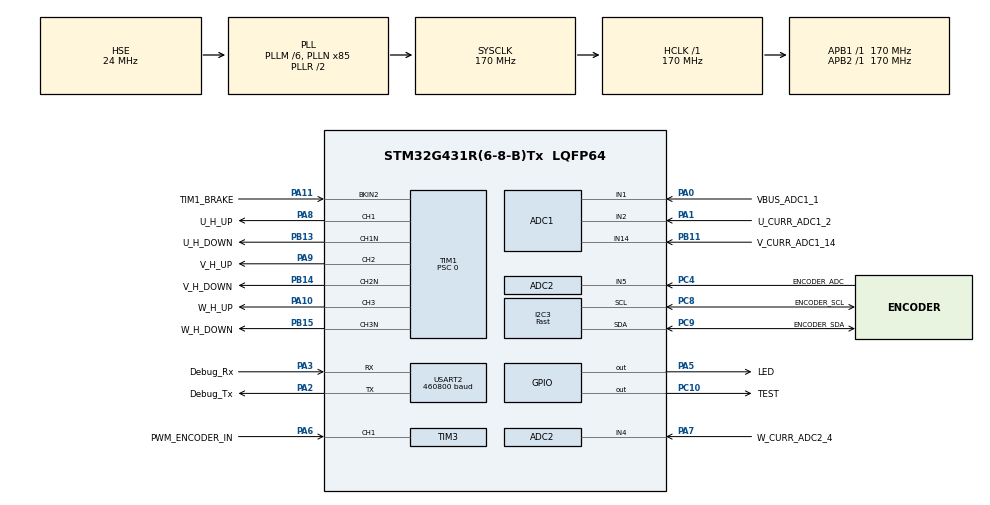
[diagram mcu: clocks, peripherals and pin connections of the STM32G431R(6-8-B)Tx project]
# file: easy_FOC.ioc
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ADC1.Channel-0\#ChannelRegularConversion=ADC_CHANNEL_2
ADC1.Channel-1\#ChannelRegularConversion=ADC_CHANNEL_14
ADC1.Channel-4\#ChannelRegularConversion=ADC_CHANNEL_1
ADC1.DataAlign=ADC_DATAALIGN_RIGHT
ADC1.EOCSelection=ADC_EOC_SINGLE_CONV
ADC1.EnableInjectedConversion=ENABLE
ADC1.ExternalTrigConv=ADC_EXTERNALTRIG_T1_TRGO
ADC1.ExternalTrigInjecConv=ADC_EXTERNALTRIGINJEC_T1_CC4
ADC1.InjNumberOfConversion=3
ADC1.InjectedChannel-2\#ChannelInjectedConversion=ADC_CHANNEL_2
ADC1.InjectedChannel-3\#ChannelInjectedConversion=ADC_CHANNEL_14
ADC1.InjectedChannel-5\#ChannelInjectedConversion=ADC_CHANNEL_1
ADC1.InjectedOffsetNumber-2\#ChannelInjectedConversion=ADC_OFFSET_NONE
ADC1.InjectedOffsetNumber-3\#ChannelInjectedConversion=ADC_OFFSET_NONE
ADC1.InjectedOffsetNumber-5\#ChannelInjectedConversion=ADC_OFFSET_NONE
ADC1.InjectedRank-2\#ChannelInjectedConversion=1
ADC1.InjectedRank-3\#ChannelInjectedConversion=2
ADC1.InjectedRank-5\#ChannelInjectedConversion=3
ADC1.InjectedSamplingTime-2\#ChannelInjectedConversion=ADC_SAMPLETIME_6CYCLES_5
ADC1.InjectedSamplingTime-3\#ChannelInjectedConversion=ADC_SAMPLETIME_6CYCLES_5
ADC1.InjectedSamplingTime-5\#ChannelInjectedConversion=ADC_SAMPLETIME_6CYCLES_5
ADC1.NbrOfConversion=3
ADC1.NbrOfConversionFlag=1
ADC1.OffsetNumber-0\#ChannelRegularConversion=ADC_OFFSET_NONE
ADC1.OffsetNumber-1\#ChannelRegularConversion=ADC_OFFSET_NONE
ADC1.OffsetNumber-4\#ChannelRegularConversion=ADC_OFFSET_NONE
ADC1.Rank-0\#ChannelRegularConversion=1
ADC1.Rank-1\#ChannelRegularConversion=2
ADC1.Rank-4\#ChannelRegularConversion=3
ADC1.Rank3_Channel=ADC_CHANNEL_1
ADC1.SamplingTime-0\#ChannelRegularConversion=ADC_SAMPLETIME_47CYCLES_5
ADC1.SamplingTime-1\#ChannelRegularConversion=ADC_SAMPLETIME_47CYCLES_5
ADC1.SamplingTime-4\#ChannelRegularConversion=ADC_SAMPLETIME_47CYCLES_5
ADC1.master=1
ADC2.Channel-0\#ChannelRegularConversion=ADC_CHANNEL_4
ADC2.DataAlign=ADC_DATAALIGN_RIGHT
ADC2.EnableInjectedConversion=ENABLE
ADC2.ExternalTrigConv=ADC_EXTERNALTRIG_T1_TRGO
ADC2.ExternalTrigInjecConv=ADC_EXTERNALTRIGINJEC_T1_CC4
ADC2.InjNumberOfConversion=2
ADC2.InjectedChannel-1\#ChannelInjectedConversion=ADC_CHANNEL_4
ADC2.InjectedChannel-2\#ChannelInjectedConversion=ADC_CHANNEL_5
ADC2.InjectedOffsetNumber-1\#ChannelInjectedConversion=ADC_OFFSET_NONE
ADC2.InjectedOffsetNumber-2\#ChannelInjectedConversion=ADC_OFFSET_NONE
ADC2.InjectedRank-1\#ChannelInjectedConversion=1
ADC2.InjectedRank-2\#ChannelInjectedConversion=2
ADC2.InjectedSamplingTime-1\#ChannelInjectedConversion=ADC_SAMPLETIME_6CYCLES_5
ADC2.InjectedSamplingTime-2\#ChannelInjectedConversion=ADC_SAMPLETIME_6CYCLES_5
ADC2.NbrOfConversionFlag=1
ADC2.OffsetNumber-0\#ChannelRegularConversion=ADC_OFFSET_NONE
ADC2.Rank-0\#ChannelRegularConversion=1
ADC2.Rank2_Channel=ADC_CHANNEL_5
ADC2.SamplingTime-0\#ChannelRegularConversion=ADC_SAMPLETIME_47CYCLES_5
I2C3.I2C_Speed_Mode=I2C_Fast
I2C3.Timing=0x10802D9B
Mcu.Family=STM32G4
Mcu.Name=STM32G431R(6-8-B)Tx
Mcu.Package=LQFP64
Mcu.UserConstants=PWM_FREQUENCY,30000;TIM_CLK_MHz,170
NVIC.ADC1_2_IRQn=true\:1\:0\:true\:false\:true\:true\:true\:true
NVIC.PriorityGroup=NVIC_PRIORITYGROUP_3
NVIC.TIM1_BRK_TIM15_IRQn=true\:0\:0\:false\:false\:true\:true\:true\:true
NVIC.TIM1_UP_TIM16_IRQn=true\:1\:0\:true\:false\:true\:true\:true\:true
NVIC.TIM2_IRQn=true\:1\:1\:true\:false\:true\:true\:true\:true
NVIC.TIM3_IRQn=true\:2\:0\:true\:false\:true\:true\:true\:true
NVIC.USART2_IRQn=true\:3\:0\:true\:false\:true\:true\:true\:true
PA0.GPIO_Label=VBUS_ADC1_1
PA0.Mode=IN1-Single-Ended
PA0.Signal=ADC1_IN1
PA1.GPIO_Label=U_CURR_ADC1_2
PA1.Mode=IN2-Single-Ended
PA1.Signal=ADC1_IN2
PA10.GPIO_Label=W_H_UP
PA10.GPIO_PuPd=GPIO_PULLDOWN
PA10.Signal=S_TIM1_CH3
PA11.GPIO_Label=TIM1_BRAKE
PA11.GPIO_PuPd=GPIO_PULLUP
PA11.Mode=Activate-Break-Input-2
PA11.Signal=TIM1_BKIN2
PA13.Mode=Serial_Wire
PA13.Signal=SYS_JTMS-SWDIO
PA14.Mode=Serial_Wire
PA14.Signal=SYS_JTCK-SWCLK
PA2.GPIO_Label=Debug_Tx
PA2.Mode=Asynchronous
PA2.Signal=USART2_TX
PA3.GPIO_Label=Debug_Rx
PA3.Mode=Asynchronous
PA3.Signal=USART2_RX
PA5.GPIO_Label=LED
PA5.GPIO_PuPd=GPIO_PULLUP
PA5.GPIO_Speed=GPIO_SPEED_FREQ_HIGH
PA5.PinState=GPIO_PIN_SET
PA5.Signal=GPIO_Output
PA6.GPIO_Label=PWM_ENCODER_IN
PA6.Signal=S_TIM3_CH1
PA7.GPIO_Label=W_CURR_ADC2_4
PA7.Mode=IN4-Single-Ended
PA7.Signal=ADC2_IN4
PA8.GPIO_Label=U_H_UP
PA8.GPIO_PuPd=GPIO_PULLDOWN
PA8.Signal=S_TIM1_CH1
PA9.GPIO_Label=V_H_UP
PA9.GPIO_PuPd=GPIO_PULLDOWN
PA9.Signal=S_TIM1_CH2
PB11.GPIO_Label=V_CURR_ADC1_14
PB11.Mode=IN14-Single-Ended
PB11.Signal=ADC1_IN14
PB13.GPIO_Label=U_H_DOWN
PB13.GPIO_PuPd=GPIO_PULLDOWN
PB13.Mode=PWM Generation1 CH1 CH1N
PB13.Signal=TIM1_CH1N
PB14.GPIO_Label=V_H_DOWN
PB14.GPIO_PuPd=GPIO_PULLDOWN
PB14.Mode=PWM Generation2 CH2 CH2N
PB14.Signal=TIM1_CH2N
PB15.GPIO_Label=W_H_DOWN
PB15.GPIO_PuPd=GPIO_PULLDOWN
PB15.Mode=PWM Generation3 CH3 CH3N
PB15.Signal=TIM1_CH3N
PC10.GPIO_Label=TEST
PC10.GPIO_PuPd=GPIO_PULLUP
PC10.GPIO_Speed=GPIO_SPEED_FREQ_HIGH
PC10.Signal=GPIO_Output
PC4.GPIO_Label=ENCODER_ADC
PC4.Mode=IN5-Single-Ended
PC4.Signal=ADC2_IN5
PC8.GPIO_Label=ENCODER_SCL
PC8.GPIO_Pu=GPIO_PULLUP
PC8.Mode=I2C
PC8.Signal=I2C3_SCL
PC9.GPIO_Label=ENCODER_SDA
PC9.GPIO_Pu=GPIO_PULLUP
PC9.Mode=I2C
PC9.Signal=I2C3_SDA
PF0-OSC_IN.Mode=HSE-External-Oscillator
PF0-OSC_IN.Signal=RCC_OSC_IN
PF1-OSC_OUT.Mode=HSE-External-Oscillator
PF1-OSC_OUT.Signal=RCC_OSC_OUT
ProjectManager.HeapSize=0x200
ProjectManager.StackSize=0x400
ProjectManager.TargetToolchain=STM32CubeIDE
RCC.ADC12Freq_Value=170000000
RCC.AHBFreq_Value=170000000
RCC.APB1Freq_Value=170000000
RCC.APB1TimFreq_Value=170000000
RCC.APB2Freq_Value=170000000
RCC.APB2TimFreq_Value=170000000
RCC.CortexFreq_Value=170000000
RCC.EXTERNAL_CLOCK_VALUE=12288000
RCC.HCLKFreq_Value=170000000
RCC.HSE_VALUE=24000000
RCC.HSI48_VALUE=48000000
RCC.HSI_VALUE=16000000
RCC.LSE_VALUE=32768
RCC.PLLM=RCC_PLLM_DIV6
RCC.PLLN=85
RCC.PLLSourceVirtual=RCC_PLLSOURCE_HSE
RCC.SYSCLKFreq_VALUE=170000000
RCC.SYSCLKSource=RCC_SYSCLKSOURCE_PLLCLK
RCC.USBFreq_Value=170000000
RCC.VCOOutputFreq_Value=340000000
SH.S_TIM1_CH1.0=TIM1_CH1,PWM Generation1 CH1 CH1N
SH.S_TIM1_CH2.0=TIM1_CH2,PWM Generation2 CH2 CH2N
SH.S_TIM1_CH3.0=TIM1_CH3,PWM Generation3 CH3 CH3N
SH.S_TIM3_CH1.0=TIM3_CH1,TriggerSource_TI1FP1
SH.S_TIM3_CH1.1=TIM3_CH1,Input_Capture1_from_TI1
SH.S_TIM3_CH1.2=TIM3_CH1,Input_Capture2_from_TI1
TIM1.AsymmetricalDeadTime=DISABLE
TIM1.AutoReloadPreload=TIM_AUTORELOAD_PRELOAD_ENABLE
TIM1.AutomaticOutput=TIM_AUTOMATICOUTPUT_ENABLE
TIM1.Break2Filter=3
TIM1.Break2Polarity=TIM_BREAK2POLARITY_LOW
TIM1.Break2State=TIM_BREAK2_DISABLE
TIM1.BreakPolarity=TIM_BREAKPOLARITY_LOW
TIM1.BreakState=TIM_BREAK_DISABLE
TIM1.Channel-PWM\ Generation1\ CH1\ CH1N=TIM_CHANNEL_1
TIM1.Channel-PWM\ Generation2\ CH2\ CH2N=TIM_CHANNEL_2
TIM1.Channel-PWM\ Generation3\ CH3\ CH3N=TIM_CHANNEL_3
TIM1.Channel-PWM\ Generation4\ No\ Output=TIM_CHANNEL_4
TIM1.CounterMode=TIM_COUNTERMODE_CENTERALIGNED1
TIM1.DeadTime=5
TIM1.DeadTimePreload=ENABLE
TIM1.LockLevel=TIM_LOCKLEVEL_1
TIM1.OCMode_PWM-PWM\ Generation1\ CH1\ CH1N=TIM_OCMODE_PWM1
TIM1.OCMode_PWM-PWM\ Generation2\ CH2\ CH2N=TIM_OCMODE_PWM1
TIM1.OCMode_PWM-PWM\ Generation3\ CH3\ CH3N=TIM_OCMODE_PWM1
TIM1.OCMode_PWM-PWM\ Generation4\ No\ Output=TIM_OCMODE_PWM1
TIM1.OCNIdleState_1=TIM_OCNIDLESTATE_SET
TIM1.OCNIdleState_2=TIM_OCNIDLESTATE_SET
TIM1.OCNIdleState_3=TIM_OCNIDLESTATE_SET
TIM1.OCNPolarity_1=TIM_OCNPOLARITY_HIGH
TIM1.OCNPolarity_2=TIM_OCNPOLARITY_HIGH
TIM1.OCNPolarity_3=TIM_OCNPOLARITY_HIGH
TIM1.OCPolarity_1=TIM_OCPOLARITY_HIGH
TIM1.OCPolarity_2=TIM_OCPOLARITY_HIGH
TIM1.OCPolarity_3=TIM_OCPOLARITY_HIGH
TIM1.PeriodNoDither=TIM_CLK_MHz*1000000/PWM_FREQUENCY/2
TIM1.Prescaler=0
TIM1.PulseNoDither_1=0
TIM1.PulseNoDither_2=0
TIM1.PulseNoDither_3=0
TIM1.TIM_MasterOutputTrigger=TIM_TRGO_OC4REF
TIM2.AutoReloadPreload=TIM_AUTORELOAD_PRELOAD_ENABLE
TIM2.PeriodNoDither=499
TIM2.Prescaler=170-1
TIM3.Channel-Input_Capture1_from_TI1=TIM_CHANNEL_1
TIM3.Channel-Input_Capture2_from_TI1=TIM_CHANNEL_2
TIM3.ICPolarity_CH1=TIM_INPUTCHANNELPOLARITY_RISING
TIM3.ICPolarity_CH2=TIM_INPUTCHANNELPOLARITY_FALLING
TIM3.PeriodNoDither=65535
TIM3.Prescaler=17-1
USART2.BaudRate=460800
USART2.VirtualMode-Asynchronous=VM_ASYNC
VP_SYS_VS_DBSignals.Mode=DisableDeadBatterySignals
VP_TIM1_VS_ClockSourceINT.Mode=Internal
VP_TIM1_VS_no_output4.Mode=PWM Generation4 No Output
VP_TIM2_VS_ClockSourceINT.Mode=Internal
VP_TIM3_VS_ClockSourceINT.Mode=Internal
VP_TIM3_VS_ControllerModeReset.Mode=Reset Mode
board=custom

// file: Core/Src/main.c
/* USER CODE BEGIN Header */
/**
 ******************************************************************************
 * @file           : main.c
 * @brief          : Main program body
 ******************************************************************************
 * @attention
 *
 * <h2><center>&copy; Copyright (c) 2023 STMicroelectronics.
 * All rights reserved.</center></h2>
 *
 * This software component is licensed by ST under BSD 3-Clause license,
 * the "License"; You may not use this file except in compliance with the
 * License. You may obtain a copy of the License at:
 *                        opensource.org/licenses/BSD-3-Clause
 *
 ******************************************************************************
 */
/* USER CODE END Header */
#include "main.h"

/* USER CODE BEGIN Includes */
#include "test.h"
#include "foc.h"
#include "debug.h"
#include "stdio.h"
#include "PWM_Encoder.h"
#include "motor_function.h"
#include "current_sample.h"
#include "pid_control.h"
#include "IIC_encoder.h"
#include "ADC_encoder.h"
/* USER CODE END Includes */

ADC_HandleTypeDef hadc1;
ADC_HandleTypeDef hadc2;

I2C_HandleTypeDef hi2c3;

TIM_HandleTypeDef htim1;
TIM_HandleTypeDef htim2;
TIM_HandleTypeDef htim3;

UART_HandleTypeDef huart2;

/* USER CODE BEGIN PV */
uint32_t test;
/* USER CODE END PV */

void SystemClock_Config(void);
static void MX_GPIO_Init(void);
static void MX_TIM1_Init(void);
static void MX_ADC1_Init(void);
static void MX_ADC2_Init(void);
static void MX_USART2_UART_Init(void);
static void MX_TIM3_Init(void);
static void MX_TIM2_Init(void);
static void MX_I2C3_Init(void);

int main(void)
{

  /* MCU Configuration--------------------------------------------------------*/

  /* Reset of all peripherals, Initializes the Flash interface and the Systick. */
  HAL_Init();

  /* Configure the system clock */
  SystemClock_Config();

  /* Initialize all configured peripherals */
  MX_GPIO_Init();
  MX_TIM1_Init();
  MX_ADC1_Init();
  MX_ADC2_Init();
  MX_USART2_UART_Init();
  MX_TIM3_Init();
  MX_TIM2_Init();
  MX_I2C3_Init();
  /* USER CODE BEGIN 2 */
  uart_debug_init();
  FOC_hardware_init();
//  PWM_encoder_init();
  PID_init();
  HAL_Delay(100);
  GetCurrentOffset();
  HAL_Delay(500);
  Motor_Align(0.5);
  motor_function_init();
  /* USER CODE END 2 */

  /* Infinite loop */
  while (1)
  {

    /* USER CODE BEGIN 3 */
//    vofa_JustFloat_output(FOC.AlphaBeta.alpha,FOC.AlphaBeta.beta,FOC.DQ.d,FOC.DQ.q);
//	    vofa_JustFloat_output(current.Ia,current.Ib,current.Ic,FOC.DQ.d);
//	  	vofa_JustFloat_output(current.Ia,current.Ib,current.Ic,adc_encoder.electronic_angle);
	  	vofa_JustFloat_output(m_c.speed,m_c.speed_filter_win,m_c.speed_set,0.0f);

  }
  /* USER CODE END 3 */
}

void SystemClock_Config(void)
{
  RCC_OscInitTypeDef RCC_OscInitStruct = {0};
  RCC_ClkInitTypeDef RCC_ClkInitStruct = {0};

  /** Configure the main internal regulator output voltage
  */
  HAL_PWREx_ControlVoltageScaling(PWR_REGULATOR_VOLTAGE_SCALE1_BOOST);

  /** Initializes the RCC Oscillators according to the specified parameters
  * in the RCC_OscInitTypeDef structure.
  */
  RCC_OscInitStruct.OscillatorType = RCC_OSCILLATORTYPE_HSE;
  RCC_OscInitStruct.HSEState = RCC_HSE_ON;
  RCC_OscInitStruct.PLL.PLLState = RCC_PLL_ON;
  RCC_OscInitStruct.PLL.PLLSource = RCC_PLLSOURCE_HSE;
  RCC_OscInitStruct.PLL.PLLM = RCC_PLLM_DIV6;
  RCC_OscInitStruct.PLL.PLLN = 85;
  RCC_OscInitStruct.PLL.PLLP = RCC_PLLP_DIV2;
  RCC_OscInitStruct.PLL.PLLQ = RCC_PLLQ_DIV2;
  RCC_OscInitStruct.PLL.PLLR = RCC_PLLR_DIV2;
  if (HAL_RCC_OscConfig(&RCC_OscInitStruct) != HAL_OK)
  {
    Error_Handler();
  }

  /** Initializes the CPU, AHB and APB buses clocks
  */
  RCC_ClkInitStruct.ClockType = RCC_CLOCKTYPE_HCLK|RCC_CLOCKTYPE_SYSCLK
                              |RCC_CLOCKTYPE_PCLK1|RCC_CLOCKTYPE_PCLK2;
  RCC_ClkInitStruct.SYSCLKSource = RCC_SYSCLKSOURCE_PLLCLK;
  RCC_ClkInitStruct.AHBCLKDivider = RCC_SYSCLK_DIV1;
  RCC_ClkInitStruct.APB1CLKDivider = RCC_HCLK_DIV1;
  RCC_ClkInitStruct.APB2CLKDivider = RCC_HCLK_DIV1;

  if (HAL_RCC_ClockConfig(&RCC_ClkInitStruct, FLASH_LATENCY_4) != HAL_OK)
  {
    Error_Handler();
  }
}

static void MX_ADC1_Init(void)
{

  ADC_MultiModeTypeDef multimode = {0};
  ADC_ChannelConfTypeDef sConfig = {0};
  ADC_InjectionConfTypeDef sConfigInjected = {0};

  /** Common config
  */
  hadc1.Instance = ADC1;
  hadc1.Init.ClockPrescaler = ADC_CLOCK_SYNC_PCLK_DIV4;
  hadc1.Init.Resolution = ADC_RESOLUTION_12B;
  hadc1.Init.DataAlign = ADC_DATAALIGN_RIGHT;
  hadc1.Init.GainCompensation = 0;
  hadc1.Init.ScanConvMode = ADC_SCAN_ENABLE;
  hadc1.Init.EOCSelection = ADC_EOC_SINGLE_CONV;
  hadc1.Init.LowPowerAutoWait = DISABLE;
  hadc1.Init.ContinuousConvMode = DISABLE;
  hadc1.Init.NbrOfConversion = 3;
  hadc1.Init.DiscontinuousConvMode = DISABLE;
  hadc1.Init.ExternalTrigConv = ADC_EXTERNALTRIG_T1_TRGO;
  hadc1.Init.ExternalTrigConvEdge = ADC_EXTERNALTRIGCONVEDGE_RISING;
  hadc1.Init.DMAContinuousRequests = DISABLE;
  hadc1.Init.Overrun = ADC_OVR_DATA_PRESERVED;
  hadc1.Init.OversamplingMode = DISABLE;
  if (HAL_ADC_Init(&hadc1) != HAL_OK)
  {
    Error_Handler();
  }

  /** Configure the ADC multi-mode
  */
  multimode.Mode = ADC_MODE_INDEPENDENT;
  if (HAL_ADCEx_MultiModeConfigChannel(&hadc1, &multimode) != HAL_OK)
  {
    Error_Handler();
  }

  /** Configure Regular Channel
  */
  sConfig.Channel = ADC_CHANNEL_2;
  sConfig.Rank = ADC_REGULAR_RANK_1;
  sConfig.SamplingTime = ADC_SAMPLETIME_47CYCLES_5;
  sConfig.SingleDiff = ADC_SINGLE_ENDED;
  sConfig.OffsetNumber = ADC_OFFSET_NONE;
  sConfig.Offset = 0;
  if (HAL_ADC_ConfigChannel(&hadc1, &sConfig) != HAL_OK)
  {
    Error_Handler();
  }

  /** Configure Regular Channel
  */
  sConfig.Channel = ADC_CHANNEL_14;
  sConfig.Rank = ADC_REGULAR_RANK_2;
  if (HAL_ADC_ConfigChannel(&hadc1, &sConfig) != HAL_OK)
  {
    Error_Handler();
  }

  /** Configure Regular Channel
  */
  sConfig.Channel = ADC_CHANNEL_1;
  sConfig.Rank = ADC_REGULAR_RANK_3;
  if (HAL_ADC_ConfigChannel(&hadc1, &sConfig) != HAL_OK)
  {
    Error_Handler();
  }

  /** Configure Injected Channel
  */
  sConfigInjected.InjectedChannel = ADC_CHANNEL_2;
  sConfigInjected.InjectedRank = ADC_INJECTED_RANK_1;
  sConfigInjected.InjectedSamplingTime = ADC_SAMPLETIME_6CYCLES_5;
  sConfigInjected.InjectedSingleDiff = ADC_SINGLE_ENDED;
  sConfigInjected.InjectedOffsetNumber = ADC_OFFSET_NONE;
  sConfigInjected.InjectedOffset = 0;
  sConfigInjected.InjectedNbrOfConversion = 3;
  sConfigInjected.InjectedDiscontinuousConvMode = DISABLE;
  sConfigInjected.AutoInjectedConv = DISABLE;
  sConfigInjected.QueueInjectedContext = DISABLE;
  sConfigInjected.ExternalTrigInjecConv = ADC_EXTERNALTRIGINJEC_T1_CC4;
  sConfigInjected.ExternalTrigInjecConvEdge = ADC_EXTERNALTRIGINJECCONV_EDGE_RISING;
  sConfigInjected.InjecOversamplingMode = DISABLE;
  if (HAL_ADCEx_InjectedConfigChannel(&hadc1, &sConfigInjected) != HAL_OK)
  {
    Error_Handler();
  }

  /** Configure Injected Channel
  */
  sConfigInjected.InjectedChannel = ADC_CHANNEL_14;
  sConfigInjected.InjectedRank = ADC_INJECTED_RANK_2;
  if (HAL_ADCEx_InjectedConfigChannel(&hadc1, &sConfigInjected) != HAL_OK)
  {
    Error_Handler();
  }

  /** Configure Injected Channel
  */
  sConfigInjected.InjectedChannel = ADC_CHANNEL_1;
  sConfigInjected.InjectedRank = ADC_INJECTED_RANK_3;
  if (HAL_ADCEx_InjectedConfigChannel(&hadc1, &sConfigInjected) != HAL_OK)
  {
    Error_Handler();
  }

}

static void MX_ADC2_Init(void)
{

  ADC_ChannelConfTypeDef sConfig = {0};
  ADC_InjectionConfTypeDef sConfigInjected = {0};

  /** Common config
  */
  hadc2.Instance = ADC2;
  hadc2.Init.ClockPrescaler = ADC_CLOCK_SYNC_PCLK_DIV4;
  hadc2.Init.Resolution = ADC_RESOLUTION_12B;
  hadc2.Init.DataAlign = ADC_DATAALIGN_RIGHT;
  hadc2.Init.GainCompensation = 0;
  hadc2.Init.ScanConvMode = ADC_SCAN_ENABLE;
  hadc2.Init.EOCSelection = ADC_EOC_SINGLE_CONV;
  hadc2.Init.LowPowerAutoWait = DISABLE;
  hadc2.Init.ContinuousConvMode = DISABLE;
  hadc2.Init.NbrOfConversion = 1;
  hadc2.Init.DiscontinuousConvMode = DISABLE;
  hadc2.Init.ExternalTrigConv = ADC_EXTERNALTRIG_T1_TRGO;
  hadc2.Init.ExternalTrigConvEdge = ADC_EXTERNALTRIGCONVEDGE_RISING;
  hadc2.Init.DMAContinuousRequests = DISABLE;
  hadc2.Init.Overrun = ADC_OVR_DATA_PRESERVED;
  hadc2.Init.OversamplingMode = DISABLE;
  if (HAL_ADC_Init(&hadc2) != HAL_OK)
  {
    Error_Handler();
  }

  /** Configure Regular Channel
  */
  sConfig.Channel = ADC_CHANNEL_4;
  sConfig.Rank = ADC_REGULAR_RANK_1;
  sConfig.SamplingTime = ADC_SAMPLETIME_47CYCLES_5;
  sConfig.SingleDiff = ADC_SINGLE_ENDED;
  sConfig.OffsetNumber = ADC_OFFSET_NONE;
  sConfig.Offset = 0;
  if (HAL_ADC_ConfigChannel(&hadc2, &sConfig) != HAL_OK)
  {
    Error_Handler();
  }

  /** Configure Injected Channel
  */
  sConfigInjected.InjectedChannel = ADC_CHANNEL_4;
  sConfigInjected.InjectedRank = ADC_INJECTED_RANK_1;
  sConfigInjected.InjectedSamplingTime = ADC_SAMPLETIME_6CYCLES_5;
  sConfigInjected.InjectedSingleDiff = ADC_SINGLE_ENDED;
  sConfigInjected.InjectedOffsetNumber = ADC_OFFSET_NONE;
  sConfigInjected.InjectedOffset = 0;
  sConfigInjected.InjectedNbrOfConversion = 2;
  sConfigInjected.InjectedDiscontinuousConvMode = DISABLE;
  sConfigInjected.AutoInjectedConv = DISABLE;
  sConfigInjected.QueueInjectedContext = DISABLE;
  sConfigInjected.ExternalTrigInjecConv = ADC_EXTERNALTRIGINJEC_T1_CC4;
  sConfigInjected.ExternalTrigInjecConvEdge = ADC_EXTERNALTRIGINJECCONV_EDGE_RISING;
  sConfigInjected.InjecOversamplingMode = DISABLE;
  if (HAL_ADCEx_InjectedConfigChannel(&hadc2, &sConfigInjected) != HAL_OK)
  {
    Error_Handler();
  }

  /** Configure Injected Channel
  */
  sConfigInjected.InjectedChannel = ADC_CHANNEL_5;
  sConfigInjected.InjectedRank = ADC_INJECTED_RANK_2;
  if (HAL_ADCEx_InjectedConfigChannel(&hadc2, &sConfigInjected) != HAL_OK)
  {
    Error_Handler();
  }

}

static void MX_I2C3_Init(void)
{

  hi2c3.Instance = I2C3;
  hi2c3.Init.Timing = 0x10802D9B;
  hi2c3.Init.OwnAddress1 = 0;
  hi2c3.Init.AddressingMode = I2C_ADDRESSINGMODE_7BIT;
  hi2c3.Init.DualAddressMode = I2C_DUALADDRESS_DISABLE;
  hi2c3.Init.OwnAddress2 = 0;
  hi2c3.Init.OwnAddress2Masks = I2C_OA2_NOMASK;
  hi2c3.Init.GeneralCallMode = I2C_GENERALCALL_DISABLE;
  hi2c3.Init.NoStretchMode = I2C_NOSTRETCH_DISABLE;
  if (HAL_I2C_Init(&hi2c3) != HAL_OK)
  {
    Error_Handler();
  }

  /** Configure Analogue filter
  */
  if (HAL_I2CEx_ConfigAnalogFilter(&hi2c3, I2C_ANALOGFILTER_ENABLE) != HAL_OK)
  {
    Error_Handler();
  }

  /** Configure Digital filter
  */
  if (HAL_I2CEx_ConfigDigitalFilter(&hi2c3, 0) != HAL_OK)
  {
    Error_Handler();
  }

}

static void MX_TIM1_Init(void)
{

  TIM_ClockConfigTypeDef sClockSourceConfig = {0};
  TIM_MasterConfigTypeDef sMasterConfig = {0};
  TIMEx_BreakInputConfigTypeDef sBreakInputConfig = {0};
  TIM_OC_InitTypeDef sConfigOC = {0};
  TIM_BreakDeadTimeConfigTypeDef sBreakDeadTimeConfig = {0};

  htim1.Instance = TIM1;
  htim1.Init.Prescaler = 0;
  htim1.Init.CounterMode = TIM_COUNTERMODE_CENTERALIGNED1;
  htim1.Init.Period = TIM_CLK_MHz*1000000/PWM_FREQUENCY/2;
  htim1.Init.ClockDivision = TIM_CLOCKDIVISION_DIV1;
  htim1.Init.RepetitionCounter = 0;
  htim1.Init.AutoReloadPreload = TIM_AUTORELOAD_PRELOAD_ENABLE;
  if (HAL_TIM_Base_Init(&htim1) != HAL_OK)
  {
    Error_Handler();
  }
  sClockSourceConfig.ClockSource = TIM_CLOCKSOURCE_INTERNAL;
  if (HAL_TIM_ConfigClockSource(&htim1, &sClockSourceConfig) != HAL_OK)
  {
    Error_Handler();
  }
  if (HAL_TIM_PWM_Init(&htim1) != HAL_OK)
  {
    Error_Handler();
  }
  sMasterConfig.MasterOutputTrigger = TIM_TRGO_OC4REF;
  sMasterConfig.MasterOutputTrigger2 = TIM_TRGO2_RESET;
  sMasterConfig.MasterSlaveMode = TIM_MASTERSLAVEMODE_DISABLE;
  if (HAL_TIMEx_MasterConfigSynchronization(&htim1, &sMasterConfig) != HAL_OK)
  {
    Error_Handler();
  }
  sBreakInputConfig.Source = TIM_BREAKINPUTSOURCE_BKIN;
  sBreakInputConfig.Enable = TIM_BREAKINPUTSOURCE_ENABLE;
  sBreakInputConfig.Polarity = TIM_BREAKINPUTSOURCE_POLARITY_HIGH;
  if (HAL_TIMEx_ConfigBreakInput(&htim1, TIM_BREAKINPUT_BRK2, &sBreakInputConfig) != HAL_OK)
  {
    Error_Handler();
  }
  sConfigOC.OCMode = TIM_OCMODE_PWM1;
  sConfigOC.Pulse = 0;
  sConfigOC.OCPolarity = TIM_OCPOLARITY_HIGH;
  sConfigOC.OCNPolarity = TIM_OCNPOLARITY_HIGH;
  sConfigOC.OCFastMode = TIM_OCFAST_DISABLE;
  sConfigOC.OCIdleState = TIM_OCIDLESTATE_RESET;
  sConfigOC.OCNIdleState = TIM_OCNIDLESTATE_SET;
  if (HAL_TIM_PWM_ConfigChannel(&htim1, &sConfigOC, TIM_CHANNEL_1) != HAL_OK)
  {
    Error_Handler();
  }
  if (HAL_TIM_PWM_ConfigChannel(&htim1, &sConfigOC, TIM_CHANNEL_2) != HAL_OK)
  {
    Error_Handler();
  }
  if (HAL_TIM_PWM_ConfigChannel(&htim1, &sConfigOC, TIM_CHANNEL_3) != HAL_OK)
  {
    Error_Handler();
  }
  sConfigOC.OCNIdleState = TIM_OCNIDLESTATE_RESET;
  if (HAL_TIM_PWM_ConfigChannel(&htim1, &sConfigOC, TIM_CHANNEL_4) != HAL_OK)
  {
    Error_Handler();
  }
  HAL_TIMEx_EnableDeadTimePreload(&htim1);
  sBreakDeadTimeConfig.OffStateRunMode = TIM_OSSR_ENABLE;
  sBreakDeadTimeConfig.OffStateIDLEMode = TIM_OSSI_ENABLE;
  sBreakDeadTimeConfig.LockLevel = TIM_LOCKLEVEL_1;
  sBreakDeadTimeConfig.DeadTime = 5;
  sBreakDeadTimeConfig.BreakState = TIM_BREAK_DISABLE;
  sBreakDeadTimeConfig.BreakPolarity = TIM_BREAKPOLARITY_LOW;
  sBreakDeadTimeConfig.BreakFilter = 0;
  sBreakDeadTimeConfig.BreakAFMode = TIM_BREAK_AFMODE_INPUT;
  sBreakDeadTimeConfig.Break2State = TIM_BREAK2_DISABLE;
  sBreakDeadTimeConfig.Break2Polarity = TIM_BREAK2POLARITY_LOW;
  sBreakDeadTimeConfig.Break2Filter = 3;
  sBreakDeadTimeConfig.Break2AFMode = TIM_BREAK_AFMODE_INPUT;
  sBreakDeadTimeConfig.AutomaticOutput = TIM_AUTOMATICOUTPUT_ENABLE;
  if (HAL_TIMEx_ConfigBreakDeadTime(&htim1, &sBreakDeadTimeConfig) != HAL_OK)
  {
    Error_Handler();
  }
  HAL_TIM_MspPostInit(&htim1);

}

static void MX_TIM2_Init(void)
{

  TIM_ClockConfigTypeDef sClockSourceConfig = {0};
  TIM_MasterConfigTypeDef sMasterConfig = {0};

  htim2.Instance = TIM2;
  htim2.Init.Prescaler = 170-1;
  htim2.Init.CounterMode = TIM_COUNTERMODE_UP;
  htim2.Init.Period = 499;
  htim2.Init.ClockDivision = TIM_CLOCKDIVISION_DIV1;
  htim2.Init.AutoReloadPreload = TIM_AUTORELOAD_PRELOAD_ENABLE;
  if (HAL_TIM_Base_Init(&htim2) != HAL_OK)
  {
    Error_Handler();
  }
  sClockSourceConfig.ClockSource = TIM_CLOCKSOURCE_INTERNAL;
  if (HAL_TIM_ConfigClockSource(&htim2, &sClockSourceConfig) != HAL_OK)
  {
    Error_Handler();
  }
  sMasterConfig.MasterOutputTrigger = TIM_TRGO_RESET;
  sMasterConfig.MasterSlaveMode = TIM_MASTERSLAVEMODE_DISABLE;
  if (HAL_TIMEx_MasterConfigSynchronization(&htim2, &sMasterConfig) != HAL_OK)
  {
    Error_Handler();
  }

}

static void MX_TIM3_Init(void)
{

  TIM_ClockConfigTypeDef sClockSourceConfig = {0};
  TIM_SlaveConfigTypeDef sSlaveConfig = {0};
  TIM_MasterConfigTypeDef sMasterConfig = {0};
  TIM_IC_InitTypeDef sConfigIC = {0};

  htim3.Instance = TIM3;
  htim3.Init.Prescaler = 17-1;
  htim3.Init.CounterMode = TIM_COUNTERMODE_UP;
  htim3.Init.Period = 65535;
  htim3.Init.ClockDivision = TIM_CLOCKDIVISION_DIV1;
  htim3.Init.AutoReloadPreload = TIM_AUTORELOAD_PRELOAD_DISABLE;
  if (HAL_TIM_Base_Init(&htim3) != HAL_OK)
  {
    Error_Handler();
  }
  sClockSourceConfig.ClockSource = TIM_CLOCKSOURCE_INTERNAL;
  if (HAL_TIM_ConfigClockSource(&htim3, &sClockSourceConfig) != HAL_OK)
  {
    Error_Handler();
  }
  if (HAL_TIM_IC_Init(&htim3) != HAL_OK)
  {
    Error_Handler();
  }
  sSlaveConfig.SlaveMode = TIM_SLAVEMODE_RESET;
  sSlaveConfig.InputTrigger = TIM_TS_TI1FP1;
  sSlaveConfig.TriggerPolarity = TIM_INPUTCHANNELPOLARITY_RISING;
  sSlaveConfig.TriggerFilter = 0;
  if (HAL_TIM_SlaveConfigSynchro(&htim3, &sSlaveConfig) != HAL_OK)
  {
    Error_Handler();
  }
  sMasterConfig.MasterOutputTrigger = TIM_TRGO_RESET;
  sMasterConfig.MasterSlaveMode = TIM_MASTERSLAVEMODE_DISABLE;
  if (HAL_TIMEx_MasterConfigSynchronization(&htim3, &sMasterConfig) != HAL_OK)
  {
    Error_Handler();
  }
  sConfigIC.ICPolarity = TIM_INPUTCHANNELPOLARITY_RISING;
  sConfigIC.ICSelection = TIM_ICSELECTION_DIRECTTI;
  sConfigIC.ICPrescaler = TIM_ICPSC_DIV1;
  sConfigIC.ICFilter = 0;
  if (HAL_TIM_IC_ConfigChannel(&htim3, &sConfigIC, TIM_CHANNEL_1) != HAL_OK)
  {
    Error_Handler();
  }
  sConfigIC.ICPolarity = TIM_INPUTCHANNELPOLARITY_FALLING;
  sConfigIC.ICSelection = TIM_ICSELECTION_INDIRECTTI;
  if (HAL_TIM_IC_ConfigChannel(&htim3, &sConfigIC, TIM_CHANNEL_2) != HAL_OK)
  {
    Error_Handler();
  }

}

static void MX_USART2_UART_Init(void)
{

  huart2.Instance = USART2;
  huart2.Init.BaudRate = 460800;
  huart2.Init.WordLength = UART_WORDLENGTH_8B;
  huart2.Init.StopBits = UART_STOPBITS_1;
  huart2.Init.Parity = UART_PARITY_NONE;
  huart2.Init.Mode = UART_MODE_TX_RX;
  huart2.Init.HwFlowCtl = UART_HWCONTROL_NONE;
  huart2.Init.OverSampling = UART_OVERSAMPLING_16;
  huart2.Init.OneBitSampling = UART_ONE_BIT_SAMPLE_DISABLE;
  huart2.Init.ClockPrescaler = UART_PRESCALER_DIV1;
  huart2.AdvancedInit.AdvFeatureInit = UART_ADVFEATURE_NO_INIT;
  if (HAL_UART_Init(&huart2) != HAL_OK)
  {
    Error_Handler();
  }
  if (HAL_UARTEx_SetTxFifoThreshold(&huart2, UART_TXFIFO_THRESHOLD_1_8) != HAL_OK)
  {
    Error_Handler();
  }
  if (HAL_UARTEx_SetRxFifoThreshold(&huart2, UART_RXFIFO_THRESHOLD_1_8) != HAL_OK)
  {
    Error_Handler();
  }
  if (HAL_UARTEx_DisableFifoMode(&huart2) != HAL_OK)
  {
    Error_Handler();
  }

}

static void MX_GPIO_Init(void)
{
  GPIO_InitTypeDef GPIO_InitStruct = {0};

  /* GPIO Ports Clock Enable */
  __HAL_RCC_GPIOF_CLK_ENABLE();
  __HAL_RCC_GPIOA_CLK_ENABLE();
  __HAL_RCC_GPIOC_CLK_ENABLE();
  __HAL_RCC_GPIOB_CLK_ENABLE();

  /*Configure GPIO pin Output Level */
  HAL_GPIO_WritePin(LED_GPIO_Port, LED_Pin, GPIO_PIN_SET);

  /*Configure GPIO pin Output Level */
  HAL_GPIO_WritePin(TEST_GPIO_Port, TEST_Pin, GPIO_PIN_RESET);

  /*Configure GPIO pin : LED_Pin */
  GPIO_InitStruct.Pin = LED_Pin;
  GPIO_InitStruct.Mode = GPIO_MODE_OUTPUT_PP;
  GPIO_InitStruct.Pull = GPIO_PULLUP;
  GPIO_InitStruct.Speed = GPIO_SPEED_FREQ_HIGH;
  HAL_GPIO_Init(LED_GPIO_Port, &GPIO_InitStruct);

  /*Configure GPIO pin : TEST_Pin */
  GPIO_InitStruct.Pin = TEST_Pin;
  GPIO_InitStruct.Mode = GPIO_MODE_OUTPUT_PP;
  GPIO_InitStruct.Pull = GPIO_PULLUP;
  GPIO_InitStruct.Speed = GPIO_SPEED_FREQ_HIGH;
  HAL_GPIO_Init(TEST_GPIO_Port, &GPIO_InitStruct);

}

void Error_Handler(void)
{
  __disable_irq();
  while (1)
  {
  }
}
